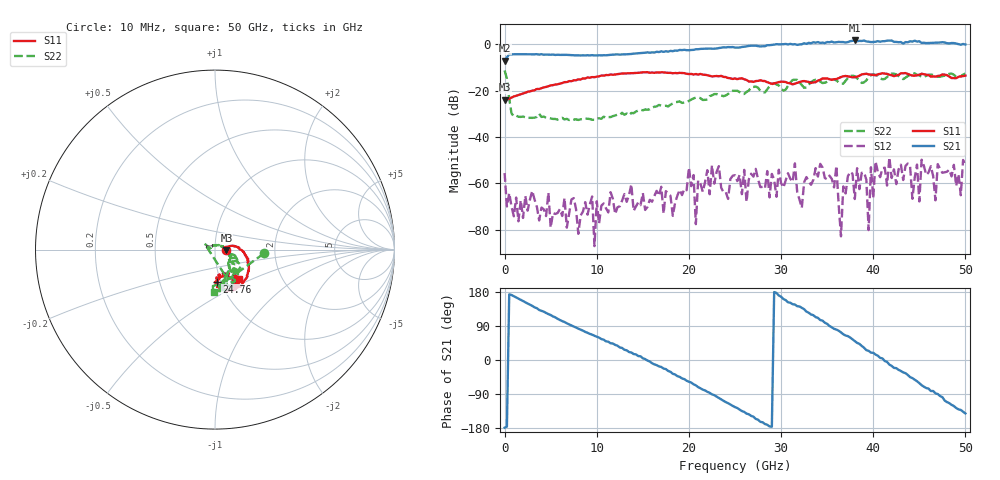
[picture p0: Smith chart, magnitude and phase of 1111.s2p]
!Agilent Technologies,E8364C,MY43040239,A.09.42.22
!Agilent E8364C: A.09.42.22
!Date: Sunday, September 14, 2025 22:27:32
!Correction: S11(Full 2 Port(1,2))
!S21(Full 2 Port(1,2))
!S12(Full 2 Port(1,2))
!S22(Full 2 Port(1,2))
!S2P File: Measurements: S11, S21, S12, S22:
# Hz S  RI  R 50
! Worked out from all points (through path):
!   201 points, 10 MHz to 50 GHz, reference 50 ohm
!   highest |S21| = 1.65 dB at 38 GHz (marker M1); lowest = -7.1 dB at 10 MHz (marker M2)
!   lowest |S11| = -23.9 dB at 10 MHz (marker M3), VSWR 1.14, Z = 56.8 - j0.263 ohm
!   |S11| at or under -10 dB: start of sweep to end of sweep
!   |S22| runs from -32.7 to -11.3 dB; largest |S21 - S12| = 1.2
!   S11 on the Smith chart (normalised r, x): 10 MHz: 1.14, -0.01; 24.76 GHz: 0.95, -0.35; 50 GHz: 1.22, -0.42
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1e7  0.0636 -0.00231  -0.4439 -0.0104  -0.000215 0.00166  0.2727 -0.0217
1.5097e9  0.0784 0.0186  -0.5822 0.1877  0.00015 -3.06e-05  -0.0265 0.00679
8.5083e9  0.1788 -0.0427  0.1259 0.5635  -0.000244 -4.27e-05  -0.00324 0.0246
1.675665e10  0.1104 -0.2209  0.6509 -0.1982  -0.000324 -0.000439  0.0454 0.0193
2.0006e10  0.0546 -0.2215  0.4018 -0.6275  0.000535 0.00214  0.0603 -0.00284
2.075585e10  0.0409 -0.2251  0.307 -0.7187  -3.28e-06 0.000133  0.0706 0.00132
2.10058e10  0.0313 -0.2207  0.2455 -0.743  -0.000861 0.000779  0.0717 0.00305
2.475505e10  0.00856 -0.1786  -0.4499 -0.7469  -0.000287 0.00144  0.0943 -0.0313
2.5005e10  1.37e-05 -0.1835  -0.4794 -0.7017  -0.00115 0.000983  0.0964 -0.0255
3.35033e10  0.0682 -0.1347  -0.5226 0.975  0.000732 0.000949  0.1062 -0.1263
3.60028e10  0.0993 -0.148  0.1864 1.091  -0.00155 -0.00184  0.1149 -0.1213
3.65027e10  0.1061 -0.166  0.3285 1.068  -5.33e-05 -4.92e-05  0.0843 -0.1153
3.675265e10  0.1129 -0.1697  0.4195 1.035  -0.000463 0.00073  0.0716 -0.1229
3.80024e10  0.1085 -0.1623  0.7828 0.9225  -0.000437 -0.00015  0.1266 -0.1617
3.90022e10  0.1232 -0.1922  1.017 0.648  0.00157 0.000724  0.0656 -0.136
3.95021e10  0.1288 -0.1839  1.037 0.4677  6.56e-05 7.44e-05  0.0615 -0.1874
3.975205e10  0.1218 -0.1847  1.053 0.3703  -0.00216 -0.000574  0.0728 -0.2016
4.175165e10  0.1254 -0.1821  1.177 -0.2522  -0.00351 -0.00101  0.0511 -0.2109
4.5001e10  0.0958 -0.1984  0.5621 -1.016  -0.000108 -0.000396  0.0633 -0.2052
4.525095e10  0.1081 -0.2055  0.4282 -0.982  0.00115 0.00304  0.0488 -0.1914
4.675065e10  0.1111 -0.167  0.0383 -1.086  0.000371 0.000224  0.0413 -0.2089
5e10  0.1316 -0.1645  -0.7694 -0.6217  6.93e-05 0.00247  -0.00563 -0.2337
